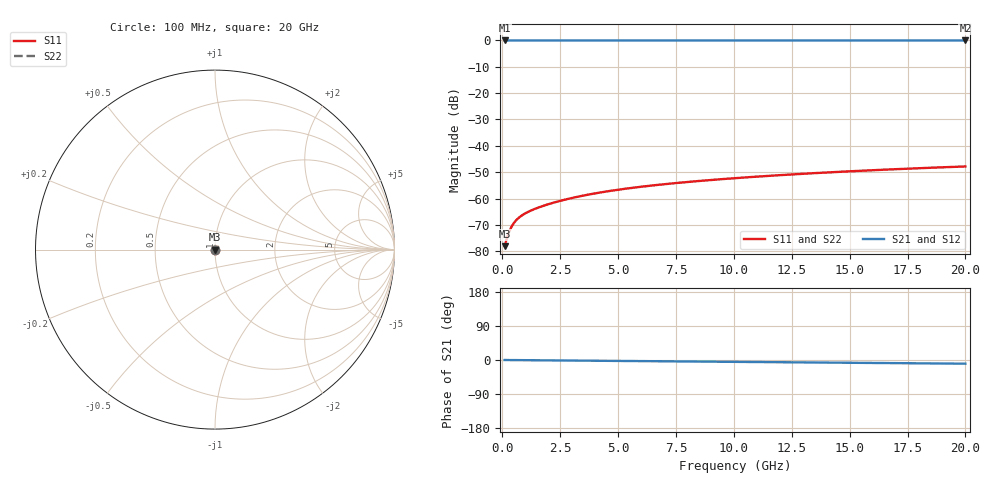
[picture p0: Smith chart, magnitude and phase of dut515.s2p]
! Touchstone file exported from HFSS 2026.1.0
!  File:  C:/ffzhzh/LocalFiles/Ansys_Project_Files/temp_train_TSV_515_1783023386_51716.aedt
!  Generated:  04:17:53 AM Jul  3, 2026
!  Design:  TSV
!  Project:  temp_train_TSV_515_1783023386_51716
! Variables:
!  h_bsmrdl = 2um
!  h_ox = 20um
!  h_rdl = 5um
!  h_sub = 98.34um
!  h_tmrdl = 5um
!  h_tsv = 98.34um
!  h_via = 3um
!  l_bsmrdl = 300um
!  l_sub = 425.22um
!  l_tmrdl = 200um
!  m_sub = 200um
!  pitch = 52.06um
!  r_tsv = 12.61um
!  s_tmrdl = 10um
!  w_bsmrdl = 18um
!  w_sub = 500um
!  w_tmrdl = 12um
!  x_tsv_center1 = 206um
!  x_tsv_center2 = 524um
!  x_tsv_center3 = 736um
!  x_tsv_center4 = 1054um
!  x_tsv_center5 = 1266um
!  x_tsv_center6 = 1584um
# GHz S MA R 50.000000
! Terminal data exported
! Port[1] = TSV1_1_T1
! Port[2] = TSV1_1_T2
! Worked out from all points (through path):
!   200 points, 100 MHz to 20 GHz, reference 50 ohm
!   highest |S21| = 0.00 dB at 100 MHz (marker M1); lowest = 0.0 dB at 20 GHz (marker M2)
!   group delay of S21, straight-line fit = 1.35 ps
!   lowest |S11| = -78.1 dB at 100 MHz (marker M3), VSWR 1.00, Z = 50 + j0.00684 ohm
!   |S11| at or under -10 dB: start of sweep to end of sweep
!   |S22| runs from -78.1 to -47.8 dB; largest |S21 - S12| = 4.6e-15
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0.1  0.0001248 33.2  0.9999 -0.1  0.9999 -0.1  0.0001248 33.2
! Gamma 0 0 0 0
! Port Impedance 50 0 50 0
0.2  0.0001788 47.9  0.9999 -0.1  0.9999 -0.1  0.0001788 47.9
0.3  0.0002375 53.1  0.9999 -0.2  0.9999 -0.2  0.0002375 53.1
0.4  0.000293 54.7  0.9998 -0.2  0.9998 -0.2  0.000293 54.7
0.5  0.0003431 55.0  0.9998 -0.3  0.9998 -0.3  0.000343 55.0
0.6  0.0003876 54.9  0.9998 -0.3  0.9998 -0.3  0.0003876 54.9
0.7  0.0004273 54.6  0.9998 -0.4  0.9998 -0.4  0.0004273 54.6
0.9  0.0004958 54.3  0.9997 -0.5  0.9997 -0.5  0.0004958 54.3
1.1  0.0005549 54.4  0.9997 -0.5  0.9997 -0.5  0.0005548 54.4
1.3  0.0006088 54.9  0.9996 -0.6  0.9996 -0.6  0.0006087 54.9
1.9  0.0007588 56.8  0.9996 -0.9  0.9996 -0.9  0.0007588 56.8
2.6  0.0009279 58.9  0.9995 -1.3  0.9995 -1.3  0.000928 58.9
3.5  0.001139 60.5  0.9995 -1.7  0.9995 -1.7  0.001139 60.5
4.2  0.001297 61.3  0.9994 -2.1  0.9994 -2.1  0.001297 61.3
5  0.001469 61.8  0.9994 -2.4  0.9994 -2.4  0.001469 61.8
5.9  0.001654 62.3  0.9993 -2.9  0.9993 -2.9  0.001655 62.3
6.8  0.001832 62.6  0.9992 -3.3  0.9992 -3.3  0.001833 62.6
8.3  0.002117 62.9  0.9992 -4.1  0.9992 -4.1  0.002118 62.9
10.1  0.002446 63.2  0.9991 -4.9  0.9991 -4.9  0.002446 63.2
13.4  0.003021 63.2  0.999 -6.5  0.999 -6.5  0.003021 63.2
16.7  0.003561 62.7  0.9988 -8.1  0.9988 -8.1  0.003562 62.7
20  0.004064 61.9  0.9987 -9.7  0.9987 -9.7  0.004065 61.8
